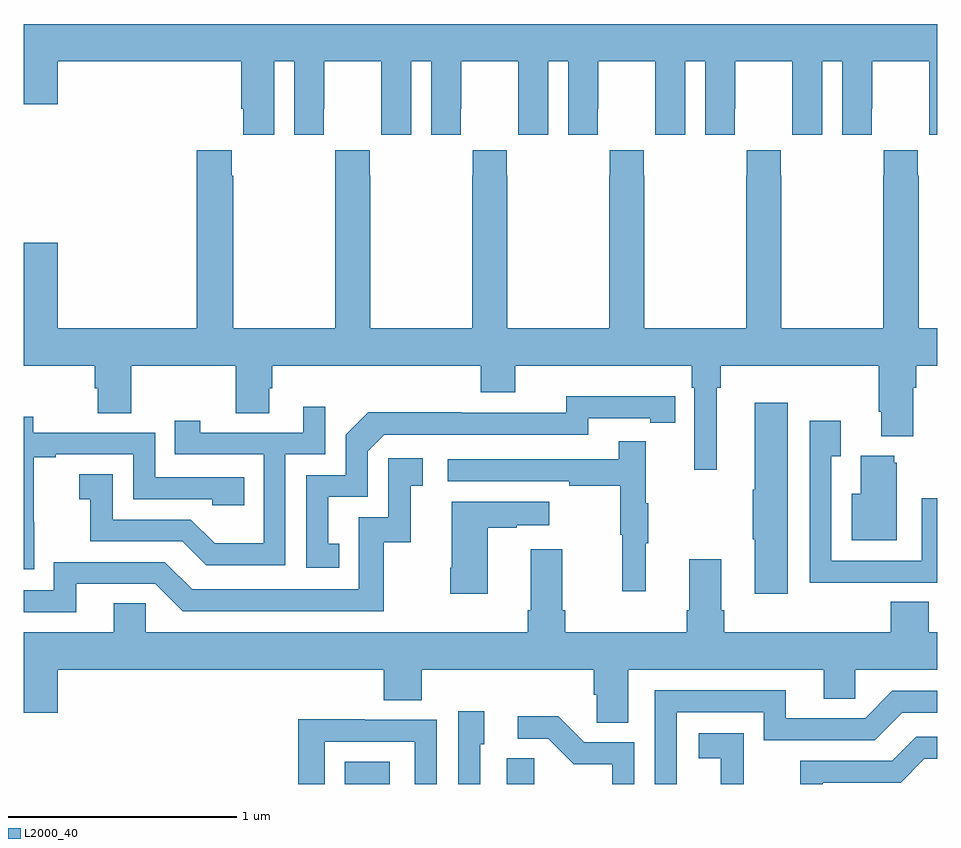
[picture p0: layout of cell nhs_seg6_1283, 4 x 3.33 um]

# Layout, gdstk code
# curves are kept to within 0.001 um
import gdstk
lib = gdstk.Library(unit=1e-6, precision=1e-09)
def R(c, l, rs):  # rectangles x0, y0, x1, y1
    for r in rs: c.add(gdstk.rectangle(r[:2], r[2:], *l))
def P(c, l, *ps):  # polygons
    for p in ps: c.add(gdstk.Polygon(p, *l))
L2000_40 = (2000, 40)

nhs_seg6_1283 = lib.new_cell('nhs_seg6_1283')
R(nhs_seg6_1283, L2000_40, [(190.406,949.5,190.603,949.597), (191.114,949.5,191.235,949.613)])
P(nhs_seg6_1283, L2000_40, [(189,952.476),(189.148,952.476),(189.148,952.664),(189.953,952.664),(189.953,952.456),(189.962,952.456),(189.962,952.344),(190.096,952.344),(190.096,952.664),(190.184,952.664),(190.184,952.344),(190.314,952.344),(190.314,952.456),(190.315,952.456),(190.315,952.664),(190.565,952.664),(190.565,952.456),(190.566,952.456),(190.566,952.344),(190.696,952.344),(190.696,952.664),(190.784,952.664),(190.784,952.344),(190.914,952.344),(190.914,952.456),(190.915,952.456),(190.915,952.664),(191.165,952.664),(191.165,952.456),(191.166,952.456),(191.166,952.344),(191.296,952.344),(191.296,952.664),(191.384,952.664),(191.384,952.344),(191.514,952.344),(191.514,952.456),(191.515,952.456),(191.515,952.664),(191.765,952.664),(191.765,952.456),(191.766,952.456),(191.766,952.344),(191.896,952.344),(191.896,952.664),(191.984,952.664),(191.984,952.344),(192.114,952.344),(192.114,952.456),(192.115,952.456),(192.115,952.664),(192.365,952.664),(192.365,952.456),(192.366,952.456),(192.366,952.344),(192.496,952.344),(192.496,952.664),(192.584,952.664),(192.584,952.344),(192.714,952.344),(192.714,952.456),(192.715,952.456),(192.715,952.664),(192.965,952.664),(192.965,952.456),(192.966,952.456),(192.966,952.344),(193,952.344),(193,952.828),(189,952.828)],
  [(192.034,951.236),(192.053,951.236),(192.053,951.332),(192.743,951.332),(192.743,951.13),(192.755,951.13),(192.755,951.023),(192.895,951.023),(192.895,951.236),(192.908,951.236),(192.908,951.332),(193,951.332),(193,951.496),(192.918,951.496),(192.918,952.163),(192.915,952.163),(192.915,952.276),(192.765,952.276),(192.765,952.163),(192.763,952.163),(192.763,951.496),(192.318,951.496),(192.318,952.163),(192.315,952.163),(192.315,952.276),(192.165,952.276),(192.165,952.163),(192.163,952.163),(192.163,951.496),(191.718,951.496),(191.718,952.163),(191.715,952.163),(191.715,952.276),(191.565,952.276),(191.565,952.163),(191.563,952.163),(191.563,951.496),(191.118,951.496),(191.118,952.163),(191.115,952.163),(191.115,952.276),(190.965,952.276),(190.965,952.163),(190.963,952.163),(190.963,951.496),(190.518,951.496),(190.518,952.163),(190.515,952.163),(190.515,952.276),(190.365,952.276),(190.365,952.163),(190.363,952.163),(190.363,951.496),(189.918,951.496),(189.918,952.163),(189.911,952.163),(189.911,952.276),(189.758,952.276),(189.758,951.496),(189.148,951.496),(189.148,951.871),(189,951.871),(189,951.332),(189.311,951.332),(189.311,951.234),(189.323,951.234),(189.323,951.124),(189.471,951.124),(189.471,951.332),(189.928,951.332),(189.928,951.124),(190.075,951.124),(190.075,951.234),(190.088,951.234),(190.088,951.332),(191,951.332),(191,951.215),(191.152,951.215),(191.152,951.332),(191.924,951.332),(191.924,951.236),(191.937,951.236),(191.937,950.877),(192.034,950.877)],
  [(190.382,950.553),(190.333,950.553),(190.333,950.757),(190.506,950.757),(190.506,950.958),(190.578,951.03),(191.472,951.03),(191.472,951.102),(191.744,951.102),(191.744,951.082),(191.852,951.082),(191.852,951.198),(191.376,951.199),(191.376,951.126),(190.916,951.126),(190.916,951.128),(190.508,951.128),(190.41,951.03),(190.41,950.853),(190.236,950.853),(190.236,950.448),(190.382,950.448)],
  [(192.346,951.169),(192.2,951.169),(192.2,950.789),(192.193,950.789),(192.193,950.572),(192.2,950.572),(192.2,950.334),(192.346,950.334)],
  [(190.146,950.943),(190.32,950.943),(190.32,951.151),(190.223,951.151),(190.223,951.039),(189.772,951.039),(189.772,951.091),(189.661,951.091),(189.661,950.943),(190.05,950.943),(190.05,950.554),(189.836,950.554),(189.732,950.658),(189.39,950.658),(189.39,950.857),(189.243,950.857),(189.243,950.747),(189.292,950.747),(189.292,950.562),(189.695,950.562),(189.8,950.457),(190.146,950.457)],
  [(189.045,950.647),(189.044,950.647),(189.044,950.931),(189.139,950.931),(189.139,950.943),(189.48,950.943),(189.48,950.748),(189.825,950.748),(189.825,950.721),(189.965,950.721),(189.965,950.844),(189.576,950.844),(189.576,951.039),(189.042,951.039),(189.042,951.108),(189,951.108),(189,950.441),(189.045,950.441)],
  [(192.713,950.382),(193,950.382),(193,950.752),(192.933,950.752),(192.933,950.478),(192.537,950.478),(192.537,950.935),(192.577,950.935),(192.577,951.091),(192.441,951.091),(192.441,950.381),(192.713,950.381)],
  [(191.723,950.555),(191.734,950.555),(191.734,950.729),(191.723,950.729),(191.723,951.001),(191.605,951.001),(191.605,950.922),(190.857,950.922),(190.857,950.826),(191.389,950.826),(191.389,950.806),(191.613,950.806),(191.613,950.592),(191.62,950.592),(191.62,950.343),(191.723,950.343)],
  [(192.823,950.907),(192.812,950.907),(192.812,950.938),(192.665,950.938),(192.665,950.77),(192.626,950.77),(192.626,950.567),(192.823,950.567)],
  [(189.229,950.376),(189.576,950.376),(189.696,950.256),(190.576,950.256),(190.576,950.559),(190.694,950.559),(190.694,950.805),(190.747,950.805),(190.747,950.926),(190.596,950.926),(190.596,950.667),(190.467,950.667),(190.467,950.352),(189.738,950.352),(189.618,950.472),(189.132,950.472),(189.132,950.349),(189,950.349),(189,950.253),(189.229,950.253)],
  [(191.032,950.623),(191.159,950.623),(191.159,950.633),(191.302,950.633),(191.302,950.737),(190.874,950.737),(190.874,950.446),(190.867,950.446),(190.867,950.334),(191.032,950.334)],
  [(191.647,950),(192.503,950),(192.503,949.873),(192.642,949.873),(192.642,950),(193,950),(193,950.164),(192.962,950.164),(192.962,950.297),(192.797,950.297),(192.797,950.164),(192.068,950.164),(192.068,950.26),(192.055,950.26),(192.055,950.485),(191.915,950.485),(191.915,950.26),(191.903,950.26),(191.903,950.164),(191.372,950.164),(191.372,950.26),(191.359,950.26),(191.359,950.527),(191.219,950.527),(191.219,950.26),(191.207,950.26),(191.207,950.164),(189.534,950.164),(189.534,950.291),(189.395,950.291),(189.395,950.164),(189,950.164),(189,949.812),(189.148,949.812),(189.148,950),(190.577,950),(190.577,949.867),(190.742,949.867),(190.742,950),(191.495,950),(191.495,949.891),(191.508,949.891),(191.508,949.768),(191.647,949.768)],
  [(191.859,949.815),(192.24,949.815),(192.24,949.692),(192.726,949.692),(192.846,949.812),(193,949.812),(193,949.908),(192.804,949.908),(192.684,949.788),(192.337,949.788),(192.337,949.911),(191.763,949.911),(191.763,949.5),(191.859,949.5)],
  [(190.998,949.674),(191.017,949.674),(191.017,949.819),(190.902,949.819),(190.902,949.5),(190.998,949.5)],
  [(191.673,949.683),(191.454,949.683),(191.341,949.796),(191.163,949.796),(191.163,949.698),(191.297,949.698),(191.408,949.587),(191.577,949.587),(191.577,949.5),(191.673,949.5)],
  [(190.317,949.686),(190.713,949.686),(190.713,949.5),(190.809,949.5),(190.809,949.782),(190.493,949.782),(190.493,949.784),(190.201,949.784),(190.201,949.5),(190.317,949.5)],
  [(192.152,949.517),(192.153,949.517),(192.153,949.723),(191.955,949.723),(191.955,949.613),(192.053,949.613),(192.053,949.5),(192.152,949.5)],
  [(192.498,949.506),(192.84,949.506),(192.944,949.61),(193,949.61),(193,949.707),(192.908,949.707),(192.803,949.602),(192.4,949.602),(192.4,949.5),(192.498,949.5)])

lib.write_gds('nhs_seg6_1283.gds')
